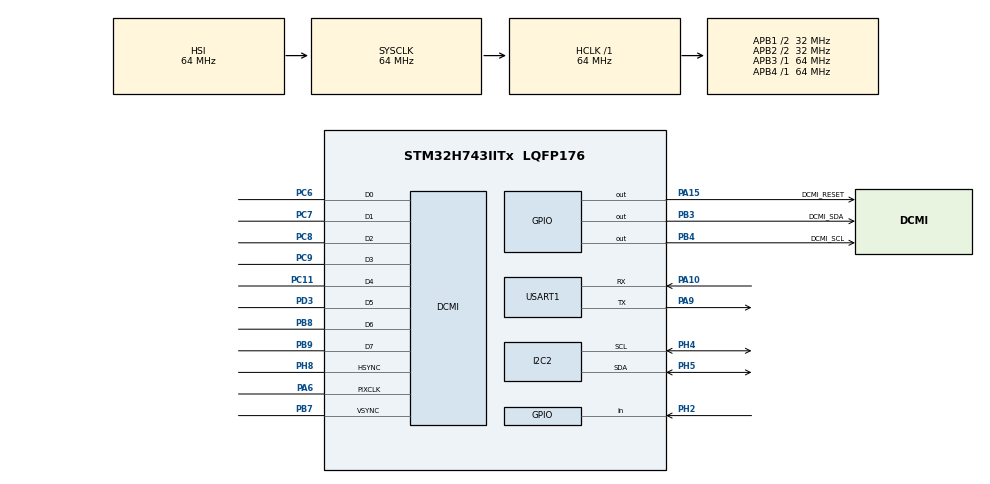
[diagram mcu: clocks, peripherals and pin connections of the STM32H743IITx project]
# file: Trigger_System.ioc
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CORTEX_M7.default_mode_Activation=1
DCMI.HSPolarity=DCMI_HSPOLARITY_LOW
DCMI.JPEGMode=DCMI_JPEG_ENABLE
DCMI.PCKPolarity=DCMI_PCKPOLARITY_RISING
DCMI.VSPolarity=DCMI_VSPOLARITY_LOW
Dma.DCMI.0.Direction=DMA_PERIPH_TO_MEMORY
Dma.DCMI.0.EventEnable=DISABLE
Dma.DCMI.0.FIFOMode=DMA_FIFOMODE_DISABLE
Dma.DCMI.0.Instance=DMA1_Stream0
Dma.DCMI.0.MemDataAlignment=DMA_MDATAALIGN_WORD
Dma.DCMI.0.MemInc=DMA_MINC_ENABLE
Dma.DCMI.0.Mode=DMA_NORMAL
Dma.DCMI.0.PeriphDataAlignment=DMA_PDATAALIGN_WORD
Dma.DCMI.0.PeriphInc=DMA_PINC_DISABLE
Dma.DCMI.0.Polarity=HAL_DMAMUX_REQ_GEN_RISING
Dma.DCMI.0.Priority=DMA_PRIORITY_VERY_HIGH
Dma.DCMI.0.RequestNumber=1
Dma.DCMI.0.SignalID=NONE
Dma.DCMI.0.SyncEnable=DISABLE
Dma.DCMI.0.SyncPolarity=HAL_DMAMUX_SYNC_NO_EVENT
Dma.DCMI.0.SyncRequestNumber=1
Dma.DCMI.0.SyncSignalID=NONE
Dma.Request0=DCMI
I2C2.Timing=0x00707CBB
Mcu.Family=STM32H7
Mcu.Name=STM32H743IITx
Mcu.Package=LQFP176
NVIC.DCMI_IRQn=true\:1\:0\:true\:false\:true\:true\:true\:true
NVIC.DMA1_Stream0_IRQn=true\:2\:0\:true\:false\:true\:false\:true\:true
NVIC.PriorityGroup=NVIC_PRIORITYGROUP_4
PA10.Mode=Asynchronous
PA10.Signal=USART1_RX
PA13\ (JTMS/SWDIO).Mode=Serial_Wire
PA13\ (JTMS/SWDIO).Signal=DEBUG_JTMS-SWDIO
PA14\ (JTCK/SWCLK).Mode=Serial_Wire
PA14\ (JTCK/SWCLK).Signal=DEBUG_JTCK-SWCLK
PA15\ (JTDI).GPIO_Label=DCMI_RESET
PA15\ (JTDI).Signal=GPIO_Output
PA6.GPIO_Speed=GPIO_SPEED_FREQ_VERY_HIGH
PA6.Mode=Slave_8_bits_External_Synchro
PA6.Signal=DCMI_PIXCLK
PA9.Mode=Asynchronous
PA9.Signal=USART1_TX
PB3\ (JTDO/TRACESWO).GPIO_Label=DCMI_SDA
PB3\ (JTDO/TRACESWO).GPIO_ModeDefaultOutputPP=GPIO_MODE_OUTPUT_OD
PB3\ (JTDO/TRACESWO).GPIO_PuPd=GPIO_NOPULL
PB3\ (JTDO/TRACESWO).PinState=GPIO_PIN_SET
PB3\ (JTDO/TRACESWO).Signal=GPIO_Output
PB4\ (NJTRST).GPIO_Label=DCMI_SCL
PB4\ (NJTRST).GPIO_ModeDefaultOutputPP=GPIO_MODE_OUTPUT_OD
PB4\ (NJTRST).GPIO_PuPd=GPIO_NOPULL
PB4\ (NJTRST).Signal=GPIO_Output
PB7.GPIO_Speed=GPIO_SPEED_FREQ_VERY_HIGH
PB7.Mode=Slave_8_bits_External_Synchro
PB7.Signal=DCMI_VSYNC
PB8.GPIO_Speed=GPIO_SPEED_FREQ_VERY_HIGH
PB8.Mode=Slave_8_bits_External_Synchro
PB8.Signal=DCMI_D6
PB9.GPIO_Speed=GPIO_SPEED_FREQ_VERY_HIGH
PB9.Mode=Slave_8_bits_External_Synchro
PB9.Signal=DCMI_D7
PC11.GPIO_Speed=GPIO_SPEED_FREQ_VERY_HIGH
PC11.Mode=Slave_8_bits_External_Synchro
PC11.Signal=DCMI_D4
PC6.GPIO_Speed=GPIO_SPEED_FREQ_VERY_HIGH
PC6.Mode=Slave_8_bits_External_Synchro
PC6.Signal=DCMI_D0
PC7.GPIO_Speed=GPIO_SPEED_FREQ_VERY_HIGH
PC7.Mode=Slave_8_bits_External_Synchro
PC7.Signal=DCMI_D1
PC8.GPIO_Speed=GPIO_SPEED_FREQ_VERY_HIGH
PC8.Mode=Slave_8_bits_External_Synchro
PC8.Signal=DCMI_D2
PC9.GPIO_Speed=GPIO_SPEED_FREQ_VERY_HIGH
PC9.Mode=Slave_8_bits_External_Synchro
PC9.Signal=DCMI_D3
PD3.GPIO_Speed=GPIO_SPEED_FREQ_VERY_HIGH
PD3.Mode=Slave_8_bits_External_Synchro
PD3.Signal=DCMI_D5
PH2.GPIO_PuPd=GPIO_PULLUP
PH2.Signal=GPIO_Input
PH4.Mode=I2C
PH4.Signal=I2C2_SCL
PH5.Mode=I2C
PH5.Signal=I2C2_SDA
PH8.GPIO_Speed=GPIO_SPEED_FREQ_VERY_HIGH
PH8.Mode=Slave_8_bits_External_Synchro
PH8.Signal=DCMI_HSYNC
ProjectManager.HeapSize=0x200
ProjectManager.StackSize=0x400
ProjectManager.TargetToolchain=STM32CubeIDE
RCC.ADCFreq_Value=129000000
RCC.APB1Freq_Value=32000000
RCC.APB2Freq_Value=32000000
RCC.APB3Freq_Value=64000000
RCC.APB4Freq_Value=64000000
RCC.CortexFreq_Value=64000000
RCC.D2PPRE1=RCC_APB1_DIV2
RCC.D2PPRE2=RCC_APB2_DIV2
RCC.HCLKFreq_Value=64000000
RCC.SYSCLKFreq_VALUE=64000000
RCC.USBFreq_Value=129000000
USART1.VirtualMode-Asynchronous=VM_ASYNC
VP_MEMORYMAP_VS_MEMORYMAP.Mode=CurAppReg
board=custom

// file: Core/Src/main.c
/* USER CODE BEGIN Header */
/**
  ******************************************************************************
  * @file           : main.c
  * @brief          : Main program body
  ******************************************************************************
  * @attention
  *
  * Copyright (c) 2026 STMicroelectronics.
  * All rights reserved.
  *
  * This software is licensed under terms that can be found in the LICENSE file
  * in the root directory of this software component.
  * If no LICENSE file comes with this software, it is provided AS-IS.
  *
  ******************************************************************************
  */
/* USER CODE END Header */
#include "main.h"

/* USER CODE BEGIN Includes */
#include "bsp_pcf8574.h"
#include "bsp_sccb.h"
#include "ov2640.h"
#include "camera_capture.h"
#include "crc32.h"
#include "uart_image_tx.h"
#include "trigger_event.h"

/* USER CODE END Includes */

/* USER CODE BEGIN PD */
#define STARTUP_DUMMY_CAPTURE_TIMEOUT_MS  2000U
#define STARTUP_DUMMY_CAPTURE_COUNT       3U

/* USER CODE END PD */

DCMI_HandleTypeDef hdcmi;
DMA_HandleTypeDef hdma_dcmi;

I2C_HandleTypeDef hi2c2;

UART_HandleTypeDef huart1;

void SystemClock_Config(void);
static void MPU_Config(void);
static void MX_GPIO_Init(void);
static void MX_DMA_Init(void);
static void MX_I2C2_Init(void);
static void MX_DCMI_Init(void);
static void MX_USART1_UART_Init(void);

int main(void)
{

  /* MPU Configuration--------------------------------------------------------*/
  MPU_Config();

  /* MCU Configuration--------------------------------------------------------*/

  /* Reset of all peripherals, Initializes the Flash interface and the Systick. */
  HAL_Init();

  /* Configure the system clock */
  SystemClock_Config();

  /* Initialize all configured peripherals */
  MX_GPIO_Init();
  MX_DMA_Init();
  MX_I2C2_Init();
  MX_DCMI_Init();
  MX_USART1_UART_Init();
  /* USER CODE BEGIN 2 */
  /* 摄像头启动阶段的 ID 读取结果，当前主要用于调试器观察 SCCB 通信是否正常。 */
  uint8_t ov_mid_h = 0;
  uint8_t ov_mid_l = 0;
  uint8_t ov_pid   = 0;
  uint8_t ov_ver   = 0;

  /* 确认 PCF8574 在线，并通过 PWDN 控制位释放 OV2640。 */
  BSP_PCF8574_Check();

  BSP_PCF8574_CameraPowerOn();

  /* 初始化软件 SCCB 总线，随后复位并配置 OV2640 JPEG 输出。 */
  BSP_SCCB_Init();

  OV2640_HardwareReset();

  OV2640_ReadID(&ov_mid_h, &ov_mid_l, &ov_pid, &ov_ver);

  OV2640_Init_1280x960_JPEG();

  /* 使用当前按键采集稳定基线的白平衡/光照模式。 */
  OV2640_SetLightMode(6);

  HAL_Delay(300);

  /* 丢弃上电后的预热帧，避开 OV2640 曝光/白平衡/ISP 初始收敛阶段。 */
  for (uint8_t i = 0U; i < STARTUP_DUMMY_CAPTURE_COUNT; i++)
  {
    (void)CameraCapture_SnapshotByFrameEvent(&hdcmi, STARTUP_DUMMY_CAPTURE_TIMEOUT_MS);
  }
  CameraCapture_ClearBuffer();

  /* 初始化 PH2 单键触发事件模块，后续主循环只调用 TriggerEvent_Process()。 */
  TriggerEvent_Init(&hdcmi, &huart1);

  /* USER CODE END 2 */

  /* Infinite loop */
  while (1)
  {

    /* USER CODE BEGIN 3 */
      /* 轮询 PH2 单键事件：采集图像后立即传输并输出对账日志。 */
      TriggerEvent_Process();

  }
  /* USER CODE END 3 */
}

void SystemClock_Config(void)
{
  RCC_OscInitTypeDef RCC_OscInitStruct = {0};
  RCC_ClkInitTypeDef RCC_ClkInitStruct = {0};

  /** Supply configuration update enable
  */
  HAL_PWREx_ConfigSupply(PWR_LDO_SUPPLY);

  /** Configure the main internal regulator output voltage
  */
  __HAL_PWR_VOLTAGESCALING_CONFIG(PWR_REGULATOR_VOLTAGE_SCALE3);

  while(!__HAL_PWR_GET_FLAG(PWR_FLAG_VOSRDY)) {}

  /** Initializes the RCC Oscillators according to the specified parameters
  * in the RCC_OscInitTypeDef structure.
  */
  RCC_OscInitStruct.OscillatorType = RCC_OSCILLATORTYPE_HSI;
  RCC_OscInitStruct.HSIState = RCC_HSI_DIV1;
  RCC_OscInitStruct.HSICalibrationValue = RCC_HSICALIBRATION_DEFAULT;
  RCC_OscInitStruct.PLL.PLLState = RCC_PLL_NONE;
  if (HAL_RCC_OscConfig(&RCC_OscInitStruct) != HAL_OK)
  {
    Error_Handler();
  }

  /** Initializes the CPU, AHB and APB buses clocks
  */
  RCC_ClkInitStruct.ClockType = RCC_CLOCKTYPE_HCLK|RCC_CLOCKTYPE_SYSCLK
                              |RCC_CLOCKTYPE_PCLK1|RCC_CLOCKTYPE_PCLK2
                              |RCC_CLOCKTYPE_D3PCLK1|RCC_CLOCKTYPE_D1PCLK1;
  RCC_ClkInitStruct.SYSCLKSource = RCC_SYSCLKSOURCE_HSI;
  RCC_ClkInitStruct.SYSCLKDivider = RCC_SYSCLK_DIV1;
  RCC_ClkInitStruct.AHBCLKDivider = RCC_HCLK_DIV1;
  RCC_ClkInitStruct.APB3CLKDivider = RCC_APB3_DIV1;
  RCC_ClkInitStruct.APB1CLKDivider = RCC_APB1_DIV2;
  RCC_ClkInitStruct.APB2CLKDivider = RCC_APB2_DIV2;
  RCC_ClkInitStruct.APB4CLKDivider = RCC_APB4_DIV1;

  if (HAL_RCC_ClockConfig(&RCC_ClkInitStruct, FLASH_LATENCY_1) != HAL_OK)
  {
    Error_Handler();
  }
}

static void MX_DCMI_Init(void)
{

  hdcmi.Instance = DCMI;
  hdcmi.Init.SynchroMode = DCMI_SYNCHRO_HARDWARE;
  hdcmi.Init.PCKPolarity = DCMI_PCKPOLARITY_RISING;
  hdcmi.Init.VSPolarity = DCMI_VSPOLARITY_LOW;
  hdcmi.Init.HSPolarity = DCMI_HSPOLARITY_LOW;
  hdcmi.Init.CaptureRate = DCMI_CR_ALL_FRAME;
  hdcmi.Init.ExtendedDataMode = DCMI_EXTEND_DATA_8B;
  hdcmi.Init.JPEGMode = DCMI_JPEG_ENABLE;
  hdcmi.Init.ByteSelectMode = DCMI_BSM_ALL;
  hdcmi.Init.ByteSelectStart = DCMI_OEBS_ODD;
  hdcmi.Init.LineSelectMode = DCMI_LSM_ALL;
  hdcmi.Init.LineSelectStart = DCMI_OELS_ODD;
  if (HAL_DCMI_Init(&hdcmi) != HAL_OK)
  {
    Error_Handler();
  }

}

static void MX_I2C2_Init(void)
{

  hi2c2.Instance = I2C2;
  hi2c2.Init.Timing = 0x00707CBB;
  hi2c2.Init.OwnAddress1 = 0;
  hi2c2.Init.AddressingMode = I2C_ADDRESSINGMODE_7BIT;
  hi2c2.Init.DualAddressMode = I2C_DUALADDRESS_DISABLE;
  hi2c2.Init.OwnAddress2 = 0;
  hi2c2.Init.OwnAddress2Masks = I2C_OA2_NOMASK;
  hi2c2.Init.GeneralCallMode = I2C_GENERALCALL_DISABLE;
  hi2c2.Init.NoStretchMode = I2C_NOSTRETCH_DISABLE;
  if (HAL_I2C_Init(&hi2c2) != HAL_OK)
  {
    Error_Handler();
  }

  /** Configure Analogue filter
  */
  if (HAL_I2CEx_ConfigAnalogFilter(&hi2c2, I2C_ANALOGFILTER_ENABLE) != HAL_OK)
  {
    Error_Handler();
  }

  /** Configure Digital filter
  */
  if (HAL_I2CEx_ConfigDigitalFilter(&hi2c2, 0) != HAL_OK)
  {
    Error_Handler();
  }

}

static void MX_USART1_UART_Init(void)
{

  huart1.Instance = USART1;
  huart1.Init.BaudRate = 115200;
  huart1.Init.WordLength = UART_WORDLENGTH_8B;
  huart1.Init.StopBits = UART_STOPBITS_1;
  huart1.Init.Parity = UART_PARITY_NONE;
  huart1.Init.Mode = UART_MODE_TX_RX;
  huart1.Init.HwFlowCtl = UART_HWCONTROL_NONE;
  huart1.Init.OverSampling = UART_OVERSAMPLING_16;
  huart1.Init.OneBitSampling = UART_ONE_BIT_SAMPLE_DISABLE;
  huart1.Init.ClockPrescaler = UART_PRESCALER_DIV1;
  huart1.AdvancedInit.AdvFeatureInit = UART_ADVFEATURE_NO_INIT;
  if (HAL_UART_Init(&huart1) != HAL_OK)
  {
    Error_Handler();
  }
  if (HAL_UARTEx_SetTxFifoThreshold(&huart1, UART_TXFIFO_THRESHOLD_1_8) != HAL_OK)
  {
    Error_Handler();
  }
  if (HAL_UARTEx_SetRxFifoThreshold(&huart1, UART_RXFIFO_THRESHOLD_1_8) != HAL_OK)
  {
    Error_Handler();
  }
  if (HAL_UARTEx_DisableFifoMode(&huart1) != HAL_OK)
  {
    Error_Handler();
  }

}

static void MX_DMA_Init(void)
{

  /* DMA controller clock enable */
  __HAL_RCC_DMA1_CLK_ENABLE();

  /* DMA interrupt init */
  /* DMA1_Stream0_IRQn interrupt configuration */
  HAL_NVIC_SetPriority(DMA1_Stream0_IRQn, 2, 0);
  HAL_NVIC_EnableIRQ(DMA1_Stream0_IRQn);

}

static void MX_GPIO_Init(void)
{
  GPIO_InitTypeDef GPIO_InitStruct = {0};

  /* GPIO Ports Clock Enable */
  __HAL_RCC_GPIOH_CLK_ENABLE();
  __HAL_RCC_GPIOA_CLK_ENABLE();
  __HAL_RCC_GPIOC_CLK_ENABLE();
  __HAL_RCC_GPIOD_CLK_ENABLE();
  __HAL_RCC_GPIOB_CLK_ENABLE();

  /*Configure GPIO pin Output Level */
  HAL_GPIO_WritePin(DCMI_RESET_GPIO_Port, DCMI_RESET_Pin, GPIO_PIN_RESET);

  /*Configure GPIO pin Output Level */
  HAL_GPIO_WritePin(DCMI_SDA_GPIO_Port, DCMI_SDA_Pin, GPIO_PIN_SET);

  /*Configure GPIO pin Output Level */
  HAL_GPIO_WritePin(DCMI_SCL_GPIO_Port, DCMI_SCL_Pin, GPIO_PIN_RESET);

  /*Configure GPIO pin : PH2 */
  GPIO_InitStruct.Pin = GPIO_PIN_2;
  GPIO_InitStruct.Mode = GPIO_MODE_INPUT;
  GPIO_InitStruct.Pull = GPIO_PULLUP;
  HAL_GPIO_Init(GPIOH, &GPIO_InitStruct);

  /*Configure GPIO pin : DCMI_RESET_Pin */
  GPIO_InitStruct.Pin = DCMI_RESET_Pin;
  GPIO_InitStruct.Mode = GPIO_MODE_OUTPUT_PP;
  GPIO_InitStruct.Pull = GPIO_NOPULL;
  GPIO_InitStruct.Speed = GPIO_SPEED_FREQ_LOW;
  HAL_GPIO_Init(DCMI_RESET_GPIO_Port, &GPIO_InitStruct);

  /*Configure GPIO pins : DCMI_SDA_Pin DCMI_SCL_Pin */
  GPIO_InitStruct.Pin = DCMI_SDA_Pin|DCMI_SCL_Pin;
  GPIO_InitStruct.Mode = GPIO_MODE_OUTPUT_OD;
  GPIO_InitStruct.Pull = GPIO_NOPULL;
  GPIO_InitStruct.Speed = GPIO_SPEED_FREQ_LOW;
  HAL_GPIO_Init(GPIOB, &GPIO_InitStruct);

}

 /* MPU Configuration */

void MPU_Config(void)
{
  MPU_Region_InitTypeDef MPU_InitStruct = {0};

  /* Disables the MPU */
  HAL_MPU_Disable();

  /** Initializes and configures the Region and the memory to be protected
  */
  MPU_InitStruct.Enable = MPU_REGION_ENABLE;
  MPU_InitStruct.Number = MPU_REGION_NUMBER0;
  MPU_InitStruct.BaseAddress = 0x0;
  MPU_InitStruct.Size = MPU_REGION_SIZE_4GB;
  MPU_InitStruct.SubRegionDisable = 0x87;
  MPU_InitStruct.TypeExtField = MPU_TEX_LEVEL0;
  MPU_InitStruct.AccessPermission = MPU_REGION_NO_ACCESS;
  MPU_InitStruct.DisableExec = MPU_INSTRUCTION_ACCESS_DISABLE;
  MPU_InitStruct.IsShareable = MPU_ACCESS_SHAREABLE;
  MPU_InitStruct.IsCacheable = MPU_ACCESS_NOT_CACHEABLE;
  MPU_InitStruct.IsBufferable = MPU_ACCESS_NOT_BUFFERABLE;

  HAL_MPU_ConfigRegion(&MPU_InitStruct);
  /* Enables the MPU */
  HAL_MPU_Enable(MPU_PRIVILEGED_DEFAULT);

}

void Error_Handler(void)
{
  __disable_irq();
  while (1)
  {
  }
}
